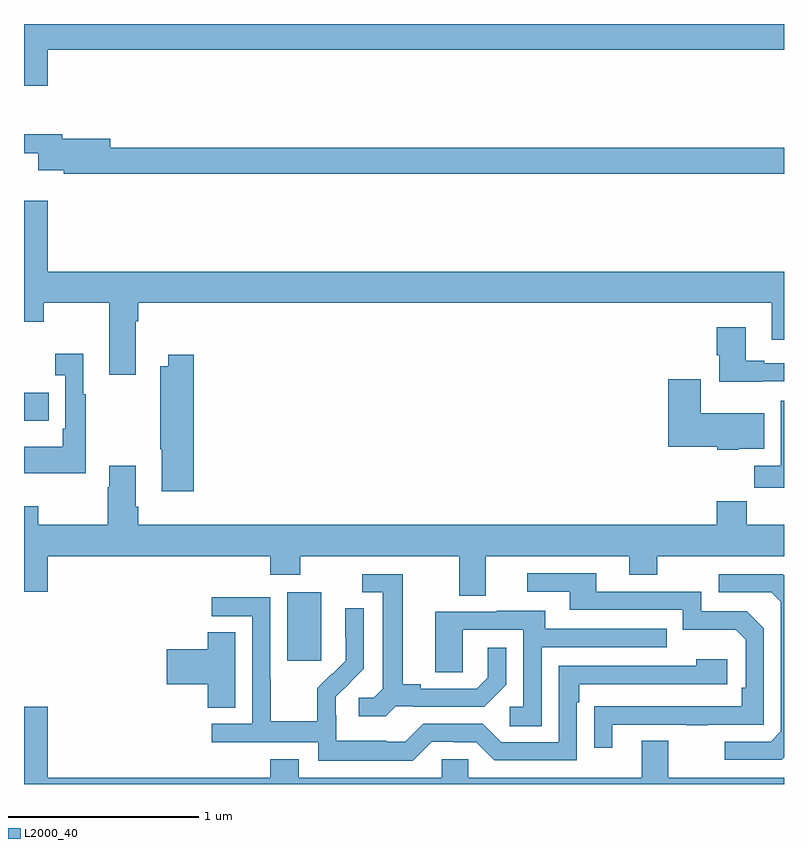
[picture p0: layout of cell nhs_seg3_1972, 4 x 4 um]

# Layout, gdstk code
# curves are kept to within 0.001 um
import gdstk
lib = gdstk.Library(unit=1e-6, precision=1e-09)
def R(c, l, rs):  # rectangles x0, y0, x1, y1
    for r in rs: c.add(gdstk.rectangle(r[:2], r[2:], *l))
def P(c, l, *ps):  # polygons
    for p in ps: c.add(gdstk.Polygon(p, *l))
L2000_40 = (2000, 40)

nhs_seg3_1972 = lib.new_cell('nhs_seg3_1972')
R(nhs_seg3_1972, L2000_40, [(214.385,683.049,214.564,683.41), (213,684.311,213.131,684.459)])
P(nhs_seg3_1972, L2000_40, [(213.124,686.264),(217,686.264),(217,686.4),(213,686.4),(213,686.076),(213.124,686.076)],
  [(217,685.748),(213.454,685.748),(213.454,685.797),(213.202,685.797),(213.202,685.821),(213,685.821),(213,685.72),(213.074,685.72),(213.074,685.631),(213.208,685.631),(213.208,685.612),(217,685.612)],
  [(213.589,684.836),(213.602,684.836),(213.602,684.932),(216.935,684.932),(216.935,684.738),(217,684.738),(217,685.096),(213.124,685.096),(213.124,685.471),(213,685.471),(213,684.833),(213.105,684.833),(213.105,684.932),(213.449,684.932),(213.449,684.555),(213.589,684.555)],
  [(216.887,684.519),(217,684.519),(217,684.615),(216.895,684.615),(216.895,684.628),(216.799,684.628),(216.799,684.805),(216.647,684.805),(216.647,684.657),(216.659,684.657),(216.659,684.518),(216.887,684.518)],
  [(213.325,684.451),(213.313,684.451),(213.313,684.664),(213.165,684.664),(213.165,684.551),(213.216,684.551),(213.216,684.271),(213.204,684.271),(213.204,684.175),(213,684.175),(213,684.035),(213.325,684.035)],
  [(213.893,684.658),(213.758,684.658),(213.758,684.598),(213.718,684.598),(213.718,684.163),(213.725,684.163),(213.725,683.94),(213.893,683.94)],
  [(216.762,684.164),(216.895,684.164),(216.895,684.352),(216.562,684.352),(216.562,684.529),(216.392,684.529),(216.392,684.176),(216.648,684.176),(216.648,684.158),(216.762,684.158)],
  [(217,684.418),(216.983,684.418),(216.983,684.076),(216.844,684.076),(216.844,683.958),(217,683.958)],
  [(215.431,683.6),(216.185,683.6),(216.185,683.501),(216.333,683.501),(216.333,683.6),(217,683.6),(217,683.764),(216.803,683.764),(216.803,683.888),(216.647,683.888),(216.647,683.764),(213.602,683.764),(213.602,683.86),(213.589,683.86),(213.589,684.076),(213.449,684.076),(213.449,683.963),(213.442,683.963),(213.442,683.764),(213.075,683.764),(213.075,683.863),(213,683.863),(213,683.412),(213.124,683.412),(213.124,683.6),(214.295,683.6),(214.295,683.501),(214.455,683.501),(214.455,683.6),(215.291,683.6),(215.291,683.392),(215.431,683.392)],
  [(216.097,682.713),(216.487,682.713),(216.487,682.708),(216.599,682.708),(216.599,682.713),(216.894,682.713),(216.894,683.22),(216.804,683.31),(216.564,683.31),(216.564,683.412),(216.013,683.412),(216.013,683.508),(215.649,683.508),(215.649,683.412),(215.873,683.412),(215.873,683.316),(216.468,683.316),(216.468,683.213),(216.745,683.213),(216.798,683.16),(216.798,682.906),(216.778,682.906),(216.778,682.809),(216.001,682.808),(216.001,682.59),(216.097,682.59)],
  [(214.956,682.809),(215.05,682.809),(215.05,682.806),(215.422,682.806),(215.538,682.922),(215.538,683.116),(215.441,683.116),(215.441,682.959),(215.384,682.902),(215.089,682.902),(215.089,682.925),(214.993,682.925),(214.993,683.505),(214.779,683.505),(214.779,683.409),(214.889,683.409),(214.889,682.901),(214.842,682.854),(214.761,682.854),(214.761,682.757),(214.904,682.757)],
  [(217,682.54),(217,683.498),(216.993,683.505),(216.657,683.505),(216.657,683.409),(216.933,683.409),(216.984,683.358),(216.984,682.677),(216.93,682.623),(216.687,682.623),(216.687,682.527),(216.987,682.527)],
  [(215.145,682.623),(215.261,682.623),(215.261,682.62),(215.379,682.62),(215.475,682.524),(215.91,682.524),(215.91,682.829),(215.923,682.829),(215.923,682.926),(216.7,682.926),(216.7,683.056),(216.539,683.056),(216.539,683.022),(215.814,683.022),(215.814,682.62),(215.511,682.62),(215.415,682.716),(215.1,682.716),(215.007,682.623),(214.907,682.623),(214.907,682.627),(214.644,682.627),(214.644,682.761),(214.642,682.761),(214.642,682.858),(214.788,683.006),(214.788,683.324),(214.692,683.324),(214.692,683.17),(214.694,683.17),(214.694,683.048),(214.623,682.977),(214.62,682.98),(214.543,682.903),(214.543,682.729),(214.299,682.729),(214.299,682.952),(214.296,682.952),(214.296,683.382),(213.987,683.382),(213.987,683.283),(214.2,683.283),(214.2,682.716),(213.987,682.716),(213.987,682.62),(214.548,682.62),(214.548,682.523),(215.045,682.523)],
  [(215.724,683.121),(216.383,683.121),(216.383,683.217),(215.743,683.217),(215.743,683.311),(215.489,683.311),(215.489,683.307),(215.165,683.307),(215.165,682.987),(215.31,682.987),(215.31,683.211),(215.628,683.211),(215.628,682.806),(215.556,682.806),(215.556,682.705),(215.724,682.705)],
  [(214.111,683.198),(213.968,683.198),(213.968,683.108),(213.75,683.108),(213.75,682.925),(213.968,682.925),(213.968,682.801),(214.111,682.801)],
  [(217,682.432),(216.391,682.432),(216.391,682.627),(216.251,682.627),(216.251,682.432),(215.337,682.432),(215.337,682.53),(215.199,682.53),(215.199,682.432),(214.447,682.432),(214.447,682.531),(214.295,682.531),(214.295,682.432),(213.124,682.432),(213.124,682.807),(213,682.807),(213,682.4),(217,682.4)])

lib.write_gds('nhs_seg3_1972.gds')
